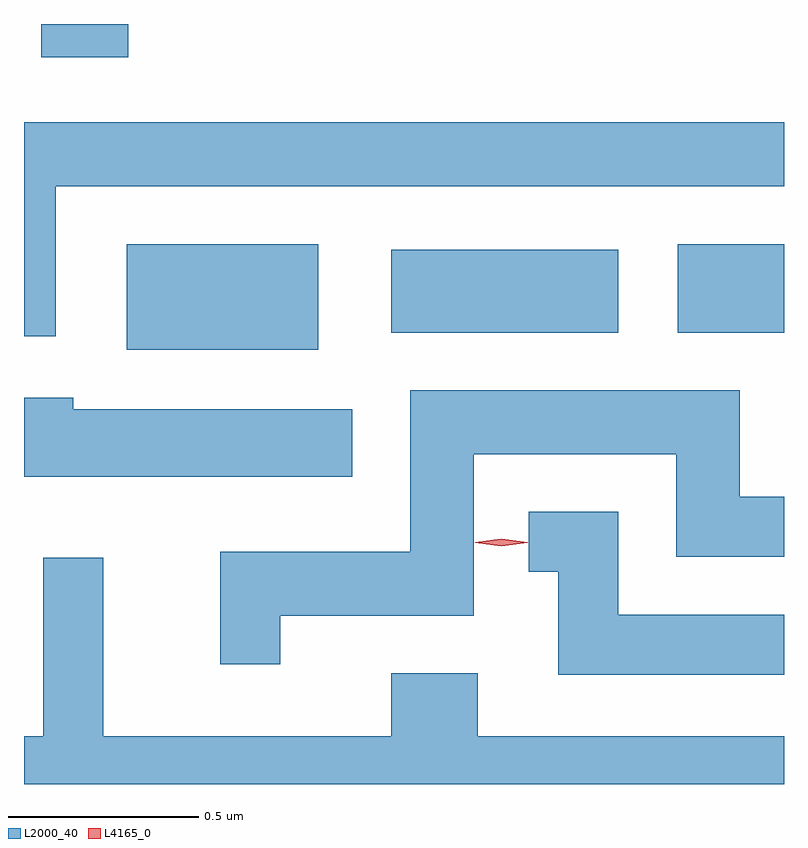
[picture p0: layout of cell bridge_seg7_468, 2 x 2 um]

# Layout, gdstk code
import gdstk
lib = gdstk.Library(unit=1e-6, precision=1e-09)
def R(c, l, rs):  # rectangles x0, y0, x1, y1
    for r in rs: c.add(gdstk.rectangle(r[:2], r[2:], *l))
def P(c, l, *ps):  # polygons
    for p in ps: c.add(gdstk.Polygon(p, *l))
L2000_40 = (2000, 40)
L4165_0 = (4165, 0)

bridge_seg7_468 = lib.new_cell('bridge_seg7_468')
R(bridge_seg7_468, L2000_40, [(1083.686,1706.721,1084.189,1706.999), (1084.381,1706.766,1084.979,1706.984), (1085.136,1706.766,1085.415,1706.999), (1083.461,1707.491,1083.689,1707.578)])
P(bridge_seg7_468, L2000_40, [(1083.499,1707.151),(1085.415,1707.151),(1085.415,1707.319),(1083.415,1707.319),(1083.415,1706.756),(1083.499,1706.756)],
  [(1084.089,1706.021),(1084.599,1706.021),(1084.599,1706.446),(1085.131,1706.446),(1085.131,1706.176),(1085.415,1706.176),(1085.415,1706.334),(1085.299,1706.334),(1085.299,1706.614),(1084.431,1706.614),(1084.431,1706.189),(1083.931,1706.189),(1083.931,1705.893),(1084.089,1705.893)],
  [(1084.279,1706.564),(1083.544,1706.564),(1083.544,1706.594),(1083.415,1706.594),(1083.415,1706.386),(1084.279,1706.386)],
  [(1085.415,1706.024),(1084.979,1706.024),(1084.979,1706.294),(1084.743,1706.294),(1084.743,1706.136),(1084.821,1706.136),(1084.821,1705.866),(1085.415,1705.866)],
  [(1085.415,1705.704),(1084.609,1705.704),(1084.609,1705.869),(1084.381,1705.869),(1084.381,1705.704),(1083.624,1705.704),(1083.624,1706.173),(1083.466,1706.173),(1083.466,1705.704),(1083.415,1705.704),(1083.415,1705.578),(1085.415,1705.578)])
P(bridge_seg7_468, L4165_0, [(1084.671,1706.204),(1084.602,1706.213),(1084.602,1706.214),(1084.602,1706.214),(1084.671,1706.224),(1084.741,1706.214),(1084.741,1706.214),(1084.741,1706.213)])

lib.write_gds('bridge_seg7_468.gds')
